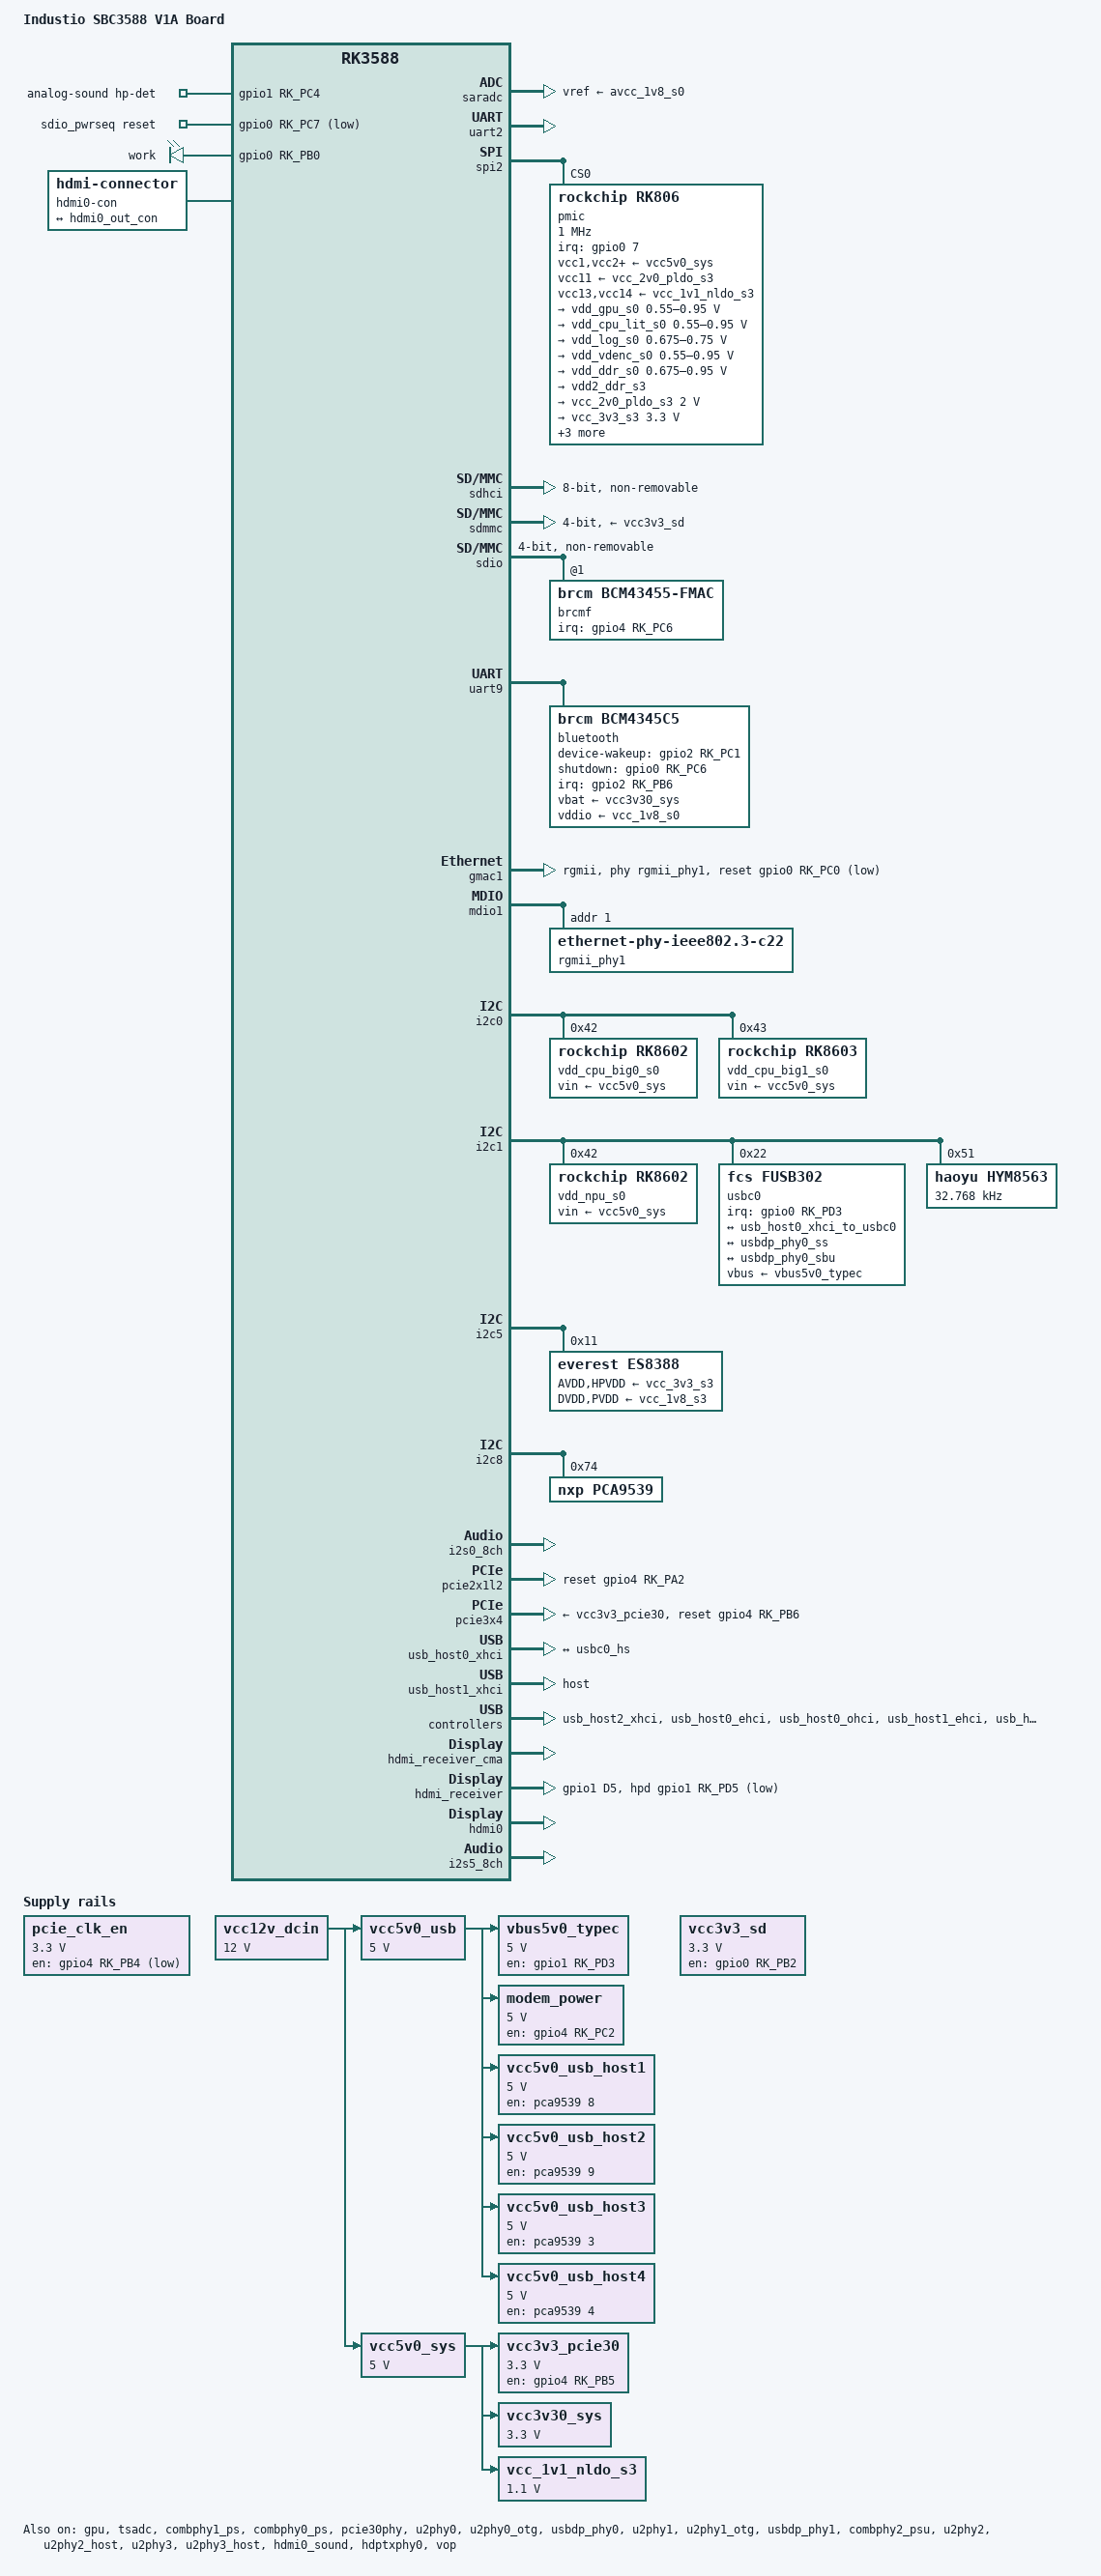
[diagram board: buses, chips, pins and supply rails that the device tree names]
// SPDX-License-Identifier: (GPL-2.0+ OR MIT)
/dts-v1/;
#include <dt-bindings/gpio/gpio.h>
#include <dt-bindings/usb/pd.h>
#include <dt-bindings/soc/rockchip,vop2.h>

#include "rk3588.dtsi"

/ {
	model = "Industio SBC3588 V1A Board";
	compatible = "rockchip,ido-evb3588-v1a", "rockchip,rk3588";
	
	aliases {
		ethernet0 = &gmac1;
		mmc0 = &sdhci;
		mmc1 = &sdmmc;
		mmc2 = &sdio;
	};
	
	chosen {
		stdout-path = "serial2:1500000n8";
	};
	
	analog-sound {
		compatible = "simple-audio-card";
		pinctrl-names = "default";
		pinctrl-0 = <&hp_det>;
		simple-audio-card,name = "rockchip,es8388";
		simple-audio-card,format = "i2s";
		simple-audio-card,mclk-fs = <256>;
		simple-audio-card,hp-det-gpios = <&gpio1 RK_PC4 GPIO_ACTIVE_HIGH>;
		simple-audio-card,bitclock-master = <&masterdai>;
		simple-audio-card,frame-master = <&masterdai>;
		
		simple-audio-card,routing =
		"Headphones", "LOUT1",
		"Headphones", "ROUT1",
		"LINPUT1", "Microphone Jack",
		"RINPUT1", "Microphone Jack",
		"LINPUT2", "Onboard Microphone",
		"RINPUT2", "Onboard Microphone";
		simple-audio-card,widgets =
		"Microphone", "Microphone Jack",
		"Microphone", "Onboard Microphone",
		"Headphone", "Headphones";
		
		simple-audio-card,cpu {
			sound-dai = <&i2s0_8ch>;
			system-clock-frequency = <12288000>;
		};
		
		masterdai: simple-audio-card,codec {
			sound-dai = <&es8388>;
			system-clock-frequency = <12288000>;
		};
	};
	
	sdio_pwrseq: sdio-pwrseq {
		compatible = "mmc-pwrseq-simple";
		clocks = <&hym8563>;
		clock-names = "ext_clock";
		pinctrl-names = "default";
		pinctrl-0 = <&wifi_enable_h>;
		post-power-on-delay-ms = <200>;
		reset-gpios = <&gpio0 RK_PC7 GPIO_ACTIVE_LOW>;
	};
	
	pcie_clk_en: pcie_clk_en {
		compatible = "regulator-fixed";
		regulator-name = "pcie_clk_en";
		regulator-min-microvolt = <3300000>;
		regulator-max-microvolt = <3300000>;
		enable-active-low;
		regulator-always-on;
		gpios = <&gpio4 RK_PB4 GPIO_ACTIVE_LOW>;
	};
	
	vbus5v0_typec: vbus5v0-typec {
		compatible = "regulator-fixed";
		regulator-name = "vbus5v0_typec";
		regulator-min-microvolt = <5000000>;
		regulator-max-microvolt = <5000000>;
		enable-active-high;
		gpio = <&gpio1 RK_PD3 GPIO_ACTIVE_HIGH>;
		pinctrl-names = "default";
		pinctrl-0 = <&vbus5v0_typec_en>;
		vin-supply = <&vcc5v0_usb>;
	};
	
	vcc12v_dcin: vcc12v-dcin {
		compatible = "regulator-fixed";
		regulator-name = "vcc12v_dcin";
		regulator-always-on;
		regulator-boot-on;
		regulator-min-microvolt = <12000000>;
		regulator-max-microvolt = <12000000>;
	};
	
	vcc3v3_pcie30: vcc3v3-pcie30 {
		compatible = "regulator-fixed";
		regulator-name = "vcc3v3_pcie30";
		regulator-min-microvolt = <3300000>;
		regulator-max-microvolt = <3300000>;
		enable-active-high;
		gpios = <&gpio4 RK_PB5 GPIO_ACTIVE_HIGH>;
		startup-delay-us = <5000>;
		vin-supply = <&vcc5v0_sys>;
	};
	
	vcc3v3_sd: vcc3v3-sd {
		compatible = "regulator-fixed";
		regulator-name = "vcc3v3_sd";
		regulator-boot-on;
		regulator-always-on;
		enable-active-high;
		regulator-min-microvolt = <3300000>;
		regulator-max-microvolt = <3300000>;
		gpios = <&gpio0 RK_PB2 GPIO_ACTIVE_HIGH>;
	};
	
	vcc3v30_sys: vcc3v30-sys {
		compatible = "regulator-fixed";
		regulator-name = "vcc3v30_sys";
		regulator-always-on;
		regulator-boot-on;
		regulator-min-microvolt = <3300000>;
		regulator-max-microvolt = <3300000>;
		vin-supply = <&vcc5v0_sys>;
	};
	
	modem_power: modem-power {
		compatible = "regulator-fixed";
		regulator-name = "modem-enable";
		regulator-boot-on;
		regulator-always-on;
		regulator-min-microvolt = <5000000>;
		regulator-max-microvolt = <5000000>;
		gpios = <&gpio4 RK_PC2 GPIO_ACTIVE_HIGH>;
		enable-active-high;
		startup-delay-us = <500000>;
		vin-supply = <&vcc5v0_usb>;
	};
	
	vcc5v0_usb_host1: regulator-vcc5v0-usb-host1 {
		compatible = "regulator-fixed";
		regulator-name = "vcc5v0_usb_host1";
		regulator-boot-on;
		regulator-always-on;
		regulator-min-microvolt = <5000000>;
		regulator-max-microvolt = <5000000>;
		gpio = <&pca9539 8 GPIO_ACTIVE_HIGH>;
		enable-active-high;
		vin-supply = <&vcc5v0_usb>;
	};
	
	vcc5v0_usb_host2: regulator-vcc5v0-usb-host2 {
		compatible = "regulator-fixed";
		regulator-name = "vcc5v0_usb_host2";
		regulator-boot-on;
		regulator-always-on;
		regulator-min-microvolt = <5000000>;
		regulator-max-microvolt = <5000000>;
		gpio = <&pca9539 9 GPIO_ACTIVE_HIGH>;
		enable-active-high;
		vin-supply = <&vcc5v0_usb>;
	};
	
	vcc5v0_usb_host3: regulator-vcc5v0-usb-host3 {
		compatible = "regulator-fixed";
		regulator-name = "vcc5v0_usb_host3";
		regulator-boot-on;
		regulator-always-on;
		regulator-min-microvolt = <5000000>;
		regulator-max-microvolt = <5000000>;
		gpio = <&pca9539 3 GPIO_ACTIVE_HIGH>;
		enable-active-high;
		vin-supply = <&vcc5v0_usb>;
	};
	
	vcc5v0_usb_host4: regulator-vcc5v0-usb-host4 {
		compatible = "regulator-fixed";
		regulator-name = "vcc5v0_usb_host4";
		regulator-boot-on;
		regulator-always-on;
		regulator-min-microvolt = <5000000>;
		regulator-max-microvolt = <5000000>;
		gpio = <&pca9539 4 GPIO_ACTIVE_HIGH>;
		enable-active-high;
		vin-supply = <&vcc5v0_usb>;
	};
	
	vcc5v0_usb: vcc5v0-usb {
		compatible = "regulator-fixed";
		regulator-name = "vcc5v0_usb";
		regulator-always-on;
		regulator-boot-on;
		regulator-min-microvolt = <5000000>;
		regulator-max-microvolt = <5000000>;
		vin-supply = <&vcc12v_dcin>;
	};
	
	vcc5v0_sys: vcc5v0-sys {
		compatible = "regulator-fixed";
		regulator-name = "vcc5v0_sys";
		regulator-always-on;
		regulator-boot-on;
		regulator-min-microvolt = <5000000>;
		regulator-max-microvolt = <5000000>;
		vin-supply = <&vcc12v_dcin>;
	};
	
	vcc_1v1_nldo_s3: vcc-1v1-nldo-s3-regulator {
		compatible = "regulator-fixed";
		regulator-name = "vcc_1v1_nldo_s3";
		regulator-always-on;
		regulator-boot-on;
		regulator-min-microvolt = <1100000>;
		regulator-max-microvolt = <1100000>;
		vin-supply = <&vcc5v0_sys>;
	};
	
	leds {
		compatible = "gpio-leds";
		status = "okay";
		
		work {
			gpios = <&gpio0 RK_PB0 GPIO_ACTIVE_HIGH>;
			linux,default-trigger = "heartbeat";
		};
	};
	
	hdmi0-con {
		compatible = "hdmi-connector";
		type = "a";
		
		port {
			hdmi0_con_in: endpoint {
				remote-endpoint = <&hdmi0_out_con>;
			};
		};
	};
};

&pinctrl {
	hdmirx {
		hdmirx_det: hdmirx-det {
			rockchip,pins = <1 RK_PD5 RK_FUNC_GPIO &pcfg_pull_up>;
		};
	};
	
	typec {
		usbc0_int: usbc0-int {
			rockchip,pins = <0 RK_PD3 RK_FUNC_GPIO &pcfg_pull_up>;
		};
		
		vbus5v0_typec_en: vbus5v0-typec-en {
			rockchip,pins = <1 RK_PD3 RK_FUNC_GPIO &pcfg_pull_none>;
		};
	};
	
	sdio-pwrseq {
		wifi_enable_h: wifi-enable-h {
			rockchip,pins = <0 RK_PC7 RK_FUNC_GPIO &pcfg_pull_none>;
		};
	};
	
	headphone {
		hp_det: hp-det {
			rockchip,pins = <1 RK_PC4 RK_FUNC_GPIO &pcfg_pull_none>;
		};
	};
	
	wireless-bluetooth {
		bt_gpio: bt-gpio {
			rockchip,pins =
			<2 RK_PC1 RK_FUNC_GPIO &pcfg_pull_none>,
			<2 RK_PB6 RK_FUNC_GPIO &pcfg_pull_up>,
			<0 RK_PC6 RK_FUNC_GPIO &pcfg_pull_down>;
		};
		
		uart9_gpios: uart9-gpios {
			rockchip,pins = <4 RK_PC4 RK_FUNC_GPIO &pcfg_pull_none>;
		};
	};
	
	wireless-wlan {
		wifi_host_wake_irq: wifi-host-wake-irq {
			rockchip,pins = <4 RK_PC6 RK_FUNC_GPIO &pcfg_pull_down>;
		};
	};
};

&cpu_b0 {
	cpu-supply = <&vdd_cpu_big0_s0>;
};

&cpu_b1 {
	cpu-supply = <&vdd_cpu_big0_s0>;
};

&cpu_b2 {
	cpu-supply = <&vdd_cpu_big1_s0>;
};

&cpu_b3 {
	cpu-supply = <&vdd_cpu_big1_s0>;
};

&cpu_l0 {
	cpu-supply = <&vdd_cpu_lit_s0>;
};

&cpu_l1 {
	cpu-supply = <&vdd_cpu_lit_s0>;
};

&cpu_l2 {
	cpu-supply = <&vdd_cpu_lit_s0>;
};

&cpu_l3 {
	cpu-supply = <&vdd_cpu_lit_s0>;
};

&gpu {
	mali-supply = <&vdd_gpu_s0>;
	mem-supply = <&vdd_gpu_mem_s0>;
	status = "okay";
};

&tsadc {
	status = "okay";
};

&saradc {
	vref-supply = <&avcc_1v8_s0>;
	status = "okay";
};

&uart2 {
	pinctrl-0 = <&uart2m0_xfer>;
	status = "okay";
};

&spi2 {
	assigned-clocks = <&cru CLK_SPI2>;
	assigned-clock-rates = <200000000>;
	num-cs = <1>;
	pinctrl-names = "default";
	pinctrl-0 = <&spi2m2_cs0 &spi2m2_pins>;
	status = "okay";
	
	pmic@0 {
		compatible = "rockchip,rk806";
		reg = <0x0>;
		interrupt-parent = <&gpio0>;
		interrupts = <7 IRQ_TYPE_LEVEL_LOW>;
		gpio-controller;
		#gpio-cells = <2>;
		pinctrl-names = "default";
		pinctrl-0 = <&pmic_pins>, <&rk806_dvs1_null>,
		<&rk806_dvs2_null>, <&rk806_dvs3_null>;
		spi-max-frequency = <1000000>;
		system-power-controller;
		
		vcc1-supply = <&vcc5v0_sys>;
		vcc2-supply = <&vcc5v0_sys>;
		vcc3-supply = <&vcc5v0_sys>;
		vcc4-supply = <&vcc5v0_sys>;
		vcc5-supply = <&vcc5v0_sys>;
		vcc6-supply = <&vcc5v0_sys>;
		vcc7-supply = <&vcc5v0_sys>;
		vcc8-supply = <&vcc5v0_sys>;
		vcc9-supply = <&vcc5v0_sys>;
		vcc10-supply = <&vcc5v0_sys>;
		vcc11-supply = <&vcc_2v0_pldo_s3>;
		vcc12-supply = <&vcc5v0_sys>;
		vcc13-supply = <&vcc_1v1_nldo_s3>;
		vcc14-supply = <&vcc_1v1_nldo_s3>;
		vcca-supply = <&vcc5v0_sys>;
		
		rk806_dvs1_null: dvs1-null-pins {
			pins = "gpio_pwrctrl1";
			function = "pin_fun0";
		};
		
		rk806_dvs2_null: dvs2-null-pins {
			pins = "gpio_pwrctrl2";
			function = "pin_fun0";
		};
		
		rk806_dvs3_null: dvs3-null-pins {
			pins = "gpio_pwrctrl3";
			function = "pin_fun0";
		};
		
		regulators {
			vdd_gpu_s0: vdd_gpu_mem_s0: dcdc-reg1 {
				regulator-boot-on;
				regulator-min-microvolt = <550000>;
				regulator-max-microvolt = <950000>;
				regulator-ramp-delay = <12500>;
				regulator-name = "vdd_gpu_s0";
				regulator-enable-ramp-delay = <400>;
				
				regulator-state-mem {
					regulator-off-in-suspend;
				};
			};
			
			vdd_cpu_lit_s0: vdd_cpu_lit_mem_s0: dcdc-reg2 {
				regulator-always-on;
				regulator-boot-on;
				regulator-min-microvolt = <550000>;
				regulator-max-microvolt = <950000>;
				regulator-ramp-delay = <12500>;
				regulator-name = "vdd_cpu_lit_s0";
				
				regulator-state-mem {
					regulator-off-in-suspend;
				};
			};
			
			vdd_log_s0: dcdc-reg3 {
				regulator-always-on;
				regulator-boot-on;
				regulator-min-microvolt = <675000>;
				regulator-max-microvolt = <750000>;
				regulator-ramp-delay = <12500>;
				regulator-name = "vdd_log_s0";
				
				regulator-state-mem {
					regulator-off-in-suspend;
					regulator-suspend-microvolt = <750000>;
				};
			};
			
			vdd_vdenc_s0: vdd_vdenc_mem_s0: dcdc-reg4 {
				regulator-always-on;
				regulator-boot-on;
				regulator-min-microvolt = <550000>;
				regulator-max-microvolt = <950000>;
				regulator-ramp-delay = <12500>;
				regulator-name = "vdd_vdenc_s0";
				
				regulator-state-mem {
					regulator-off-in-suspend;
				};
			};
			
			vdd_ddr_s0: dcdc-reg5 {
				regulator-always-on;
				regulator-boot-on;
				regulator-min-microvolt = <675000>;
				regulator-max-microvolt = <950000>;
				regulator-ramp-delay = <12500>;
				regulator-name = "vdd_ddr_s0";
				
				regulator-state-mem {
					regulator-off-in-suspend;
					regulator-suspend-microvolt = <850000>;
				};
			};
			
			vdd2_ddr_s3: dcdc-reg6 {
				regulator-always-on;
				regulator-boot-on;
				regulator-name = "vdd2_ddr_s3";
				
				regulator-state-mem {
					regulator-on-in-suspend;
				};
			};
			
			vcc_2v0_pldo_s3: dcdc-reg7 {
				regulator-always-on;
				regulator-boot-on;
				regulator-min-microvolt = <2000000>;
				regulator-max-microvolt = <2000000>;
				regulator-name = "vdd_2v0_pldo_s3";
				
				regulator-state-mem {
					regulator-on-in-suspend;
					regulator-suspend-microvolt = <2000000>;
				};
			};
			
			vcc_3v3_s3: dcdc-reg8 {
				regulator-always-on;
				regulator-boot-on;
				regulator-min-microvolt = <3300000>;
				regulator-max-microvolt = <3300000>;
				regulator-name = "vcc_3v3_s3";
				
				regulator-state-mem {
					regulator-on-in-suspend;
					regulator-suspend-microvolt = <3300000>;
				};
			};
			
			vddq_ddr_s0: dcdc-reg9 {
				regulator-always-on;
				regulator-boot-on;
				regulator-name = "vddq_ddr_s0";
				
				regulator-state-mem {
					regulator-off-in-suspend;
				};
			};
			
			vcc_1v8_s3: dcdc-reg10 {
				regulator-always-on;
				regulator-boot-on;
				regulator-min-microvolt = <1800000>;
				regulator-max-microvolt = <1800000>;
				regulator-name = "vcc_1v8_s3";
				
				regulator-state-mem {
					regulator-on-in-suspend;
					regulator-suspend-microvolt = <1800000>;
				};
			};
			
			avcc_1v8_s0: pldo-reg1 {
				regulator-always-on;
				regulator-boot-on;
				regulator-min-microvolt = <1800000>;
				regulator-max-microvolt = <1800000>;
				regulator-name = "avcc_1v8_s0";
				
				regulator-state-mem {
					regulator-off-in-suspend;
				};
			};
			
			vcc_1v8_s0: pldo-reg2 {
				regulator-always-on;
				regulator-boot-on;
				regulator-min-microvolt = <1800000>;
				regulator-max-microvolt = <1800000>;
				regulator-name = "vcc_1v8_s0";
				
				regulator-state-mem {
					regulator-off-in-suspend;
					regulator-suspend-microvolt = <1800000>;
				};
			};
			
			avdd_1v2_s0: pldo-reg3 {
				regulator-always-on;
				regulator-boot-on;
				regulator-min-microvolt = <1200000>;
				regulator-max-microvolt = <1200000>;
				regulator-name = "avdd_1v2_s0";
				
				regulator-state-mem {
					regulator-off-in-suspend;
				};
			};
			
			vcc_3v3_s0: pldo-reg4 {
				regulator-always-on;
				regulator-boot-on;
				regulator-min-microvolt = <3300000>;
				regulator-max-microvolt = <3300000>;
				regulator-name = "vcc_3v3_s0";
				
				regulator-state-mem {
					regulator-on-in-suspend;
				};
			};
			
			vccio_sd_s0: pldo-reg5 {
				regulator-always-on;
				regulator-boot-on;
				regulator-min-microvolt = <1800000>;
				regulator-max-microvolt = <3300000>;
				regulator-name = "vccio_sd_s0";
				
				regulator-state-mem {
					regulator-off-in-suspend;
				};
			};
			
			pldo6_s3: pldo-reg6 {
				regulator-always-on;
				regulator-boot-on;
				regulator-min-microvolt = <1800000>;
				regulator-max-microvolt = <1800000>;
				regulator-name = "pldo6_s3";
				
				regulator-state-mem {
					regulator-on-in-suspend;
					regulator-suspend-microvolt = <1800000>;
				};
			};
			
			vdd_0v75_s3: nldo-reg1 {
				regulator-always-on;
				regulator-boot-on;
				regulator-min-microvolt = <750000>;
				regulator-max-microvolt = <750000>;
				regulator-name = "vdd_0v75_s3";
				
				regulator-state-mem {
					regulator-on-in-suspend;
					regulator-suspend-microvolt = <750000>;
				};
			};
			
			vdd_ddr_pll_s0: nldo-reg2 {
				regulator-always-on;
				regulator-boot-on;
				regulator-min-microvolt = <850000>;
				regulator-max-microvolt = <850000>;
				regulator-name = "vdd_ddr_pll_s0";
				
				regulator-state-mem {
					regulator-off-in-suspend;
					regulator-suspend-microvolt = <850000>;
				};
			};
			
			avdd_0v75_s0: nldo-reg3 {
				regulator-always-on;
				regulator-boot-on;
				regulator-min-microvolt = <750000>;
				regulator-max-microvolt = <750000>;
				regulator-name = "avdd_0v75_s0";
				
				regulator-state-mem {
					regulator-off-in-suspend;
				};
			};
			
			vdd_0v85_s0: nldo-reg4 {
				regulator-always-on;
				regulator-boot-on;
				regulator-min-microvolt = <850000>;
				regulator-max-microvolt = <850000>;
				regulator-name = "vdd_0v85_s0";
				
				regulator-state-mem {
					regulator-off-in-suspend;
				};
			};
			
			vdd_0v75_s0: nldo-reg5 {
				regulator-always-on;
				regulator-boot-on;
				regulator-min-microvolt = <750000>;
				regulator-max-microvolt = <750000>;
				regulator-name = "vdd_0v75_s0";
				
				regulator-state-mem {
					regulator-off-in-suspend;
				};
			};
		};
	};
};

&sdhci {
	bus-width = <8>;
	max-frequency = <200000000>;
	mmc-hs400-1_8v;
	mmc-hs400-enhanced-strobe;
	no-sd;
	no-sdio;
	non-removable;
	status = "okay";
};

&sdmmc {
	bus-width = <4>;
	cap-mmc-highspeed;
	cap-sd-highspeed;
	disable-wp;
	max-frequency = <150000000>;
	no-mmc;
	no-sdio;
	sd-uhs-sdr104;
	status = "okay";
	vmmc-supply = <&vcc3v3_sd>;
	vqmmc-supply = <&vccio_sd_s0>;
};

&sdio {
	#address-cells = <1>;
	#size-cells = <0>;
	bus-width = <4>;
	cap-sd-highspeed;
	cap-sdio-irq;
	disable-wp;
	keep-power-in-suspend;
	max-frequency = <150000000>;
	mmc-pwrseq = <&sdio_pwrseq>;
	no-mmc;
	no-sd;
	non-removable;
	sd-uhs-sdr104;
	status = "okay";
	
	brcmf: wifi@1 {
		compatible = "brcm,bcm43455-fmac", "brcm,bcm4329-fmac";
		reg = <1>;
		interrupt-parent = <&gpio4>;
		interrupts = <RK_PC6 IRQ_TYPE_LEVEL_HIGH>;
		interrupt-names = "host-wake";
		pinctrl-names = "default";
		pinctrl-0 = <&wifi_host_wake_irq>;
	};
};

&uart9 {
	pinctrl-names = "default";
	pinctrl-0 = <&uart9m0_xfer &uart9m0_ctsn &uart9m0_rtsn>;
	uart-has-rtscts;
	status = "okay";
	
	bluetooth {
		compatible = "brcm,bcm4345c5";
		clocks = <&hym8563>;
		clock-names = "lpo";
		device-wakeup-gpios = <&gpio2 RK_PC1 GPIO_ACTIVE_HIGH>;
		interrupt-parent = <&gpio2>;
		interrupts = <RK_PB6 IRQ_TYPE_LEVEL_HIGH>;
		interrupt-names = "host-wakeup";
		max-speed = <1500000>;
		pinctrl-names = "default";
		pinctrl-0 = <&bt_gpio>;
		shutdown-gpios = <&gpio0 RK_PC6 GPIO_ACTIVE_HIGH>;
		vbat-supply = <&vcc3v30_sys>;
		vddio-supply = <&vcc_1v8_s0>;
	};
};

&gmac1 {
	clock_in_out = "input";
	phy-handle = <&rgmii_phy1>;
	phy-mode = "rgmii";
	pinctrl-names = "default";
	pinctrl-0 = <&gmac1_miim
	&gmac1_tx_bus2
	&gmac1_rx_bus2
	&gmac1_rgmii_clk
	&gmac1_rgmii_bus
	&gmac1_clkinout>;
	snps,reset-gpio = <&gpio0 RK_PC0 GPIO_ACTIVE_LOW>;
	snps,reset-active-low;
	snps,reset-delays-us = <0 20000 100000>;
	tx_delay = <0x34>;
	rx_delay = <0x32>;
	status = "okay";
};

&mdio1 {
	rgmii_phy1: ethernet-phy@1 {
		compatible = "ethernet-phy-ieee802.3-c22";
		reg = <0x1>;
	};
};

&i2c0 {
	status = "okay";
	pinctrl-names = "default";
	pinctrl-0 = <&i2c0m2_xfer>;
	
	vdd_cpu_big0_s0: regulator@42 {
		compatible = "rockchip,rk8602";
		reg = <0x42>;
		fcs,suspend-voltage-selector = <1>;
		regulator-always-on;
		regulator-boot-on;
		regulator-min-microvolt = <550000>;
		regulator-max-microvolt = <1050000>;
		regulator-name = "vdd_cpu_big0_s0";
		regulator-ramp-delay = <2300>;
		vin-supply = <&vcc5v0_sys>;
		
		regulator-state-mem {
			regulator-off-in-suspend;
		};
	};
	
	vdd_cpu_big1_s0: regulator@43 {
		compatible = "rockchip,rk8603", "rockchip,rk8602";
		reg = <0x43>;
		fcs,suspend-voltage-selector = <1>;
		regulator-always-on;
		regulator-boot-on;
		regulator-min-microvolt = <550000>;
		regulator-max-microvolt = <1050000>;
		regulator-name = "vdd_cpu_big1_s0";
		regulator-ramp-delay = <2300>;
		vin-supply = <&vcc5v0_sys>;
		
		regulator-state-mem {
			regulator-off-in-suspend;
		};
	};
};

&i2c1 {
	status = "okay";
	pinctrl-0 = <&i2c1m2_xfer>;
	pinctrl-names = "default";
	
	vdd_npu_s0: vdd_npu_mem_s0: regulator@42 {
		compatible = "rockchip,rk8602";
		reg = <0x42>;
		fcs,suspend-voltage-selector = <1>;
		regulator-always-on;
		regulator-boot-on;
		regulator-min-microvolt = <550000>;
		regulator-max-microvolt = <950000>;
		regulator-name = "vdd_npu_s0";
		regulator-ramp-delay = <2300>;
		vin-supply = <&vcc5v0_sys>;
		
		regulator-state-mem {
			regulator-off-in-suspend;
		};
	};
	
	usbc0: usb-typec@22 {
		compatible = "fcs,fusb302";
		reg = <0x22>;
		interrupt-parent = <&gpio0>;
		interrupts = <RK_PD3 IRQ_TYPE_LEVEL_LOW>;
		pinctrl-names = "default";
		pinctrl-0 = <&usbc0_int>;
		vbus-supply = <&vbus5v0_typec>;
		status = "okay";
		
		usb_con: connector {
			compatible = "usb-c-connector";
			label = "USB-C";
			data-role = "dual";
			power-role = "dual";
			try-power-role = "sink";
			op-sink-microwatt = <1000000>;
			sink-pdos = <PDO_FIXED(5000, 1000, PDO_FIXED_USB_COMM)>;
			source-pdos = <PDO_FIXED(5000, 3000, PDO_FIXED_USB_COMM)>;
			
			altmodes {
				displayport {
					svid = /bits/ 16 <0xff01>;
					vdo = <0xffffffff>;
				};
			};
			
			ports {
				#address-cells = <1>;
				#size-cells = <0>;
				
				port@0 {
					reg = <0>;
					
					usbc0_hs: endpoint {
						remote-endpoint = <&usb_host0_xhci_to_usbc0>;
					};
				};
				
				port@1 {
					reg = <1>;
					
					usbc0_ss: endpoint {
						remote-endpoint = <&usbdp_phy0_ss>;
					};
				};
				
				port@2 {
					reg = <2>;
					
					usbc0_sbu: endpoint {
						remote-endpoint = <&usbdp_phy0_sbu>;
					};
				};
			};
		};
	};
	
	hym8563: hym8563@51 {
		compatible = "haoyu,hym8563";
		reg = <0x51>;
		#clock-cells = <0x00>;
		clock-frequency = <32768>;
		clock-output-names = "hym8563";
		pinctrl-names = "default";
		status = "okay";
	};
};

&i2c5 {
	status = "okay";
	
	es8388: es8388@11 {
		compatible = "everest,es8388";
		reg = <0x11>;
		assigned-clocks = <&cru I2S0_8CH_MCLKOUT>;
		assigned-clock-rates = <12288000>;
		AVDD-supply = <&vcc_3v3_s3>;
		clocks = <&cru I2S0_8CH_MCLKOUT>;
		DVDD-supply = <&vcc_1v8_s3>;
		HPVDD-supply = <&vcc_3v3_s3>;
		PVDD-supply = <&vcc_1v8_s3>;
		#sound-dai-cells = <0>;
	};
};

&i2c8 {
	status = "okay";
	pinctrl-names = "default";
	pinctrl-0 = <&i2c8m2_xfer>;
	
	pca9539: gpio@74 {
		compatible = "nxp,pca9539";
		reg = <0x74>;
		gpio-controller;
		#gpio-cells = <2>;
		interrupt-controller;
		#interrupt-cells = <2>;
		gpio-line-names =
		"", "", "fan", "usb_host3_pwr",
		"usb_host4_pwr", "host_J54", "host_J53", "",
		"usb_host1_pwr", "usb_host2_pwr", "host_J52", "host_J55",
		"", "", "edp_on", "";
	};
};

&i2s0_8ch {
	pinctrl-names = "default";
	pinctrl-0 = <&i2s0_lrck
	&i2s0_mclk
	&i2s0_sclk
	&i2s0_sdi0
	&i2s0_sdo0>;
	status = "okay";
};

&combphy1_ps {
	status = "okay";
};

&sata1 {
	status = "disabled";
};

&combphy0_ps {
	status = "okay";
};

&pcie2x1l2 {
	reset-gpios = <&gpio4 RK_PA2 GPIO_ACTIVE_HIGH>;
	status = "okay";
};

&pcie30phy {
	status = "okay";
};

&pcie3x4 {
	reset-gpios = <&gpio4 RK_PB6 GPIO_ACTIVE_HIGH>;
	status = "okay";
	vpcie3v3-supply = <&vcc3v3_pcie30>;
};

&u2phy0 {
	status = "okay";
};

&u2phy0_otg {
	status = "okay";
};

&usbdp_phy0 {
	mode-switch;
	orientation-switch;
	sbu1-dc-gpios = <&gpio1 RK_PB0 GPIO_ACTIVE_HIGH>;
	sbu2-dc-gpios = <&gpio1 RK_PA6 GPIO_ACTIVE_HIGH>;
	status = "okay";
	
	port {
		#address-cells = <1>;
		#size-cells = <0>;
		
		usbdp_phy0_ss: endpoint@0 {
			reg = <0>;
			remote-endpoint = <&usbc0_ss>;
		};
		
		usbdp_phy0_sbu: endpoint@1 {
			reg = <1>;
			remote-endpoint = <&usbc0_sbu>;
		};
	};
};

&usb_host0_xhci {
	usb-role-switch;
	status = "okay";
	
	port {
		usb_host0_xhci_to_usbc0: endpoint {
			remote-endpoint = <&usbc0_hs>;
		};
	};
};

&u2phy1 {
	status = "okay";
};

&u2phy1_otg {
	status = "okay";
};

&usbdp_phy1 {
	status = "okay";
};

&usb_host1_xhci {
	dr_mode = "host";
	status = "okay";
};

&combphy2_psu {
	status = "okay";
};

&usb_host2_xhci {
	status = "okay";
};

&u2phy2 {
	status = "okay";
};

&u2phy2_host {
	status = "okay";
};

&usb_host0_ehci {
	status = "okay";
};

&usb_host0_ohci {
	status = "okay";
};

&u2phy3 {
	status = "okay";
};

&u2phy3_host {
	status = "okay";
};

&usb_host1_ehci {
	status = "okay";
};

&usb_host1_ohci {
	status = "okay";
};

&hdmi_receiver_cma {
	status = "okay";
};

&hdmi_receiver {
	status = "okay";
	hpd-gpios = <&gpio1 RK_PD5 GPIO_ACTIVE_LOW>;
	pinctrl-0 = <&hdmim1_rx_cec &hdmim1_rx_hpdin &hdmim1_rx_scl &hdmim1_rx_sda &hdmirx_det>;
	pinctrl-names = "default";
	memory-region = <&hdmi_receiver_cma>;
};

&hdmi0 {
	enable-gpios = <&gpio4 RK_PA7 GPIO_ACTIVE_HIGH>;
	status = "okay";
};

&hdmi0_sound {
	status = "okay";
};

&i2s5_8ch {
	status = "okay";
};

&hdptxphy0 {
	status = "okay";
};

&hdmi0_in {
	hdmi0_in_vp0: endpoint {
		remote-endpoint = <&vp0_out_hdmi0>;
	};
};

&hdmi0_out {
	hdmi0_out_con: endpoint {
		remote-endpoint = <&hdmi0_con_in>;
	};
};

&vop {
	status = "okay";
};

&vop_mmu {
	status = "okay";
};

&vp0 {
	vp0_out_hdmi0: endpoint@ROCKCHIP_VOP2_EP_HDMI0 {
		reg = <ROCKCHIP_VOP2_EP_HDMI0>;
		remote-endpoint = <&hdmi0_in_vp0>;
	};
};
